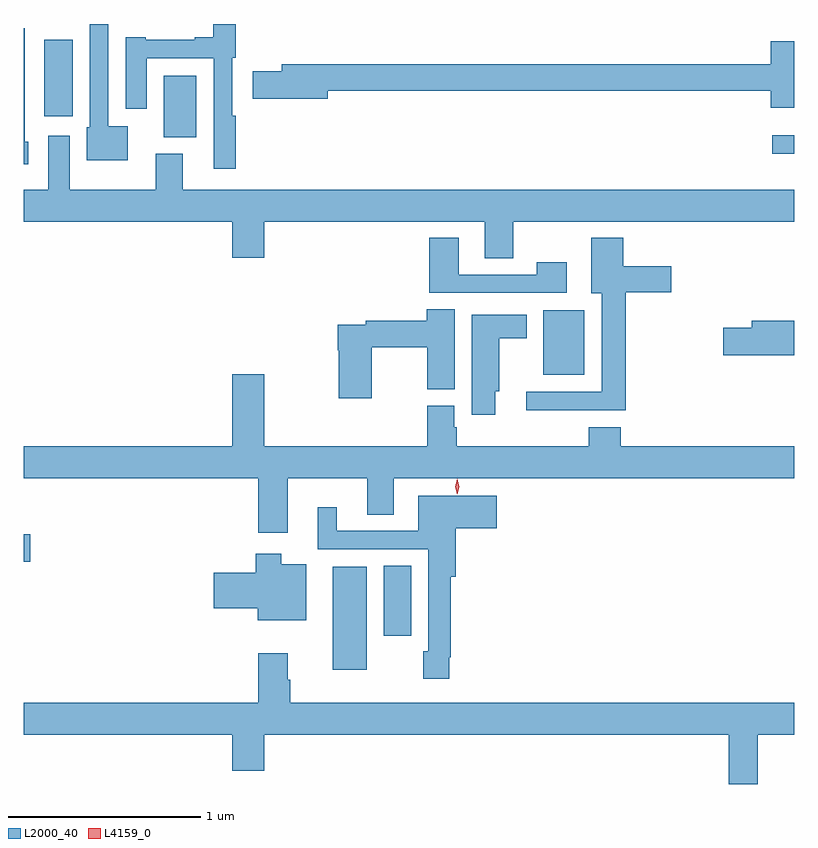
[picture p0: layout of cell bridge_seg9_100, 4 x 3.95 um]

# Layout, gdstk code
import gdstk
lib = gdstk.Library(unit=1e-6, precision=1e-09)
def R(c, l, rs):  # rectangles x0, y0, x1, y1
    for r in rs: c.add(gdstk.rectangle(r[:2], r[2:], *l))
def P(c, l, *ps):  # polygons
    for p in ps: c.add(gdstk.Polygon(p, *l))
L2000_40 = (2000, 40)
L4159_0 = (4159, 0)

bridge_seg9_100 = lib.new_cell('bridge_seg9_100')
R(bridge_seg9_100, L2000_40, [(645.05,1227.392,645.226,1227.928), (645.314,1227.57,645.457,1227.932), (643.445,1227.953,643.477,1228.095), (646.142,1228.925,646.354,1229.26), (647.331,1230.072,647.445,1230.168), (644.171,1230.158,644.341,1230.478), (643.55,1230.267,643.699,1230.664)])
P(bridge_seg9_100, L2000_40, [(644.546,1230.269),(644.526,1230.269),(644.526,1230.57),(644.546,1230.57),(644.546,1230.746),(644.429,1230.746),(644.429,1230.676),(644.333,1230.676),(644.333,1230.663),(644.077,1230.663),(644.077,1230.676),(643.973,1230.676),(643.973,1230.306),(644.083,1230.306),(644.083,1230.567),(644.43,1230.567),(644.43,1229.994),(644.546,1229.994)],
  [(643.984,1230.214),(643.884,1230.214),(643.884,1230.746),(643.788,1230.746),(643.788,1230.21),(643.772,1230.21),(643.772,1230.038),(643.984,1230.038)],
  [(643.468,1230.135),(643.45,1230.135),(643.45,1230.724),(643.445,1230.724),(643.445,1230.017),(643.468,1230.017)],
  [(647.445,1230.657),(647.324,1230.657),(647.324,1230.536),(644.783,1230.536),(644.783,1230.5),(644.634,1230.5),(644.634,1230.358),(645.022,1230.358),(645.022,1230.4),(647.324,1230.4),(647.324,1230.311),(647.445,1230.311)],
  [(645.987,1229.72),(647.445,1229.72),(647.445,1229.884),(644.269,1229.884),(644.269,1230.073),(644.129,1230.073),(644.129,1229.884),(643.684,1229.884),(643.684,1230.166),(643.571,1230.166),(643.571,1229.884),(643.445,1229.884),(643.445,1229.72),(644.528,1229.72),(644.528,1229.532),(644.692,1229.532),(644.692,1229.72),(645.839,1229.72),(645.839,1229.53),(645.987,1229.53)],
  [(646.571,1229.354),(646.807,1229.354),(646.807,1229.488),(646.558,1229.488),(646.558,1229.635),(646.391,1229.635),(646.391,1229.348),(646.445,1229.348),(646.445,1228.836),(646.053,1228.836),(646.053,1228.739),(646.571,1228.739)],
  [(646.264,1229.509),(646.108,1229.509),(646.108,1229.445),(645.703,1229.445),(645.703,1229.635),(645.551,1229.635),(645.551,1229.349),(646.264,1229.349)],
  [(645.252,1229.068),(645.541,1229.068),(645.541,1228.849),(645.682,1228.849),(645.682,1229.264),(645.536,1229.264),(645.536,1229.204),(645.22,1229.204),(645.22,1229.184),(645.074,1229.184),(645.074,1229.051),(645.079,1229.051),(645.079,1228.803),(645.252,1228.803)],
  [(645.892,1228.839),(645.913,1228.839),(645.913,1229.114),(646.057,1229.114),(646.057,1229.236),(645.77,1229.236),(645.77,1228.716),(645.892,1228.716)],
  [(647.445,1229.204),(647.225,1229.204),(647.225,1229.168),(647.076,1229.168),(647.076,1229.026),(647.445,1229.026)],
  [(644.815,1228.388),(645.227,1228.388),(645.227,1228.198),(645.367,1228.198),(645.367,1228.388),(647.445,1228.388),(647.445,1228.552),(646.544,1228.552),(646.544,1228.651),(646.379,1228.651),(646.379,1228.552),(645.692,1228.552),(645.692,1228.653),(645.679,1228.653),(645.679,1228.764),(645.539,1228.764),(645.539,1228.552),(644.692,1228.552),(644.692,1228.927),(644.528,1228.927),(644.528,1228.552),(643.445,1228.552),(643.445,1228.388),(644.663,1228.388),(644.663,1228.104),(644.815,1228.104)],
  [(645.655,1227.457),(645.662,1227.457),(645.662,1227.875),(645.689,1227.875),(645.689,1228.127),(645.901,1228.127),(645.901,1228.297),(645.494,1228.297),(645.494,1228.113),(645.07,1228.113),(645.07,1228.237),(644.972,1228.237),(644.972,1228.017),(645.546,1228.017),(645.546,1227.489),(645.52,1227.489),(645.52,1227.345),(645.655,1227.345)],
  [(644.911,1227.94),(644.782,1227.94),(644.782,1227.994),(644.648,1227.994),(644.648,1227.896),(644.43,1227.896),(644.43,1227.713),(644.66,1227.713),(644.66,1227.65),(644.911,1227.65)],
  [(647.257,1227.056),(647.445,1227.056),(647.445,1227.22),(644.828,1227.22),(644.828,1227.341),(644.815,1227.341),(644.815,1227.478),(644.663,1227.478),(644.663,1227.22),(643.445,1227.22),(643.445,1227.056),(644.528,1227.056),(644.528,1226.868),(644.692,1226.868),(644.692,1227.056),(647.105,1227.056),(647.105,1226.799),(647.257,1226.799)])
P(bridge_seg9_100, L4159_0, [(645.695,1228.303),(645.686,1228.343),(645.695,1228.383),(645.696,1228.383),(645.696,1228.383),(645.706,1228.343),(645.696,1228.303),(645.696,1228.303)])

lib.write_gds('bridge_seg9_100.gds')
